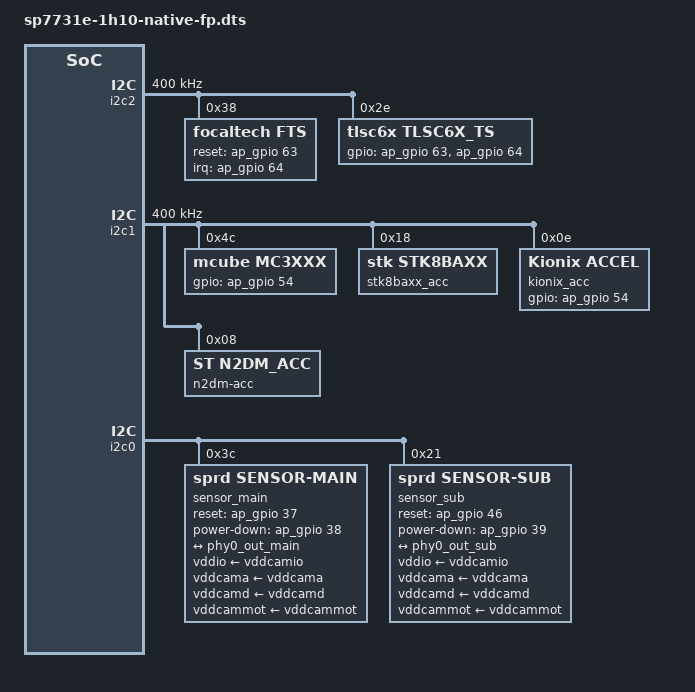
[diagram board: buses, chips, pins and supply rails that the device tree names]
/*****************************************
Do not modify dts file, please modify according dtsi file
******************************************/
#include "../sp7731e-1h10-native-fp.dts"
#include "sprd_base_diff.dtsi"

/ {
	zte_misc: zte_misc {
		status = "okay";
		compatible = "zte-misc";
	};

	charger_policy_service {
		compatible = "zte,charger-policy-service";
		status="okay";
		policy,enable = <1>;
		policy,expired-mode-enable = <1>;
		policy,retry-times = <10>;
		policy,timeout-seconds = <64800>;/* 18 hours */
		policy,max-capacity = <70>;
		policy,min-capacity = <50>;
		policy,bms-phy-name = "battery";
		policy,battery-phy-name = "battery";
	};
};

&i2c2 {
	clock-frequency = <400000>;
	status = "okay";

	/delete-node/ adaptive-touchscreen@38;

	focaltech@38 {
		compatible = "focaltech,fts";
		reg = <0x38>;
		focaltech,reset-gpio = <&ap_gpio 63 0>;
		focaltech,irq-gpio = <&ap_gpio 64 0x2008>;
		focaltech,display-coords = <0 0 480 800>;
		focaltech,max-touch-number = <2>;
	};
	tlsc6x_ts@2e {
		compatible = "tlsc6x,tlsc6x_ts";
		reg = <0x2e>;
		gpios = <&ap_gpio 63 0
			&ap_gpio 64 0>;
		vdd_name = "vdd28";
		TP_MAX_X = <480>;
		TP_MAX_Y = <960>;
	};
};

&i2c1{
	clock-frequency = <400000>;
	status = "okay";

	mc3xxx@4c{
		compatible = "mcube,mc3xxx";
		reg = <0x4c>;
		gpios = <&ap_gpio 54 0>;
		poll_interval = <10>;
		min_interval = <1>;
		g_range = <0>;
		axis_maps_x = <0>;
		axis_maps_y = <1>;
		axis_maps_z = <2>;
		negate_x = <1>;
		negate_y = <1>;
		negate_z = <0>;
	};
	stk8baxx_acc@18{
		compatible = "stk,stk8baxx";
		reg = <0x18>;
		stk,direction = <1>;
	};

	kionix_acc@0E{
		compatible = "Kionix,accel";
		reg = <0x0E>;
		poll_interval = <10>;
		min_interval = <10>;
		g_range = <0>;
		accel_res = <0>;
		accel_irq_use_drdy = <0>;
		accel_direction = <3>;
		gpios = <&ap_gpio 54 0>;
	};

	n2dm-acc@8{
		compatible = "ST,n2dm_acc";
		reg = <0x08>;
		poll_interval = <10>;
		min_interval = <10>;
		g_range = <0>;
		axis_map_x = <0>;
		axis_map_y = <1>;
		axis_map_z = <2>;
		negate_x = <1>;
		negate_y = <0>;
		negate_z = <0>;
	};
};

/*****************************************
cam setting
******************************************/
&i2c0 {
	/delete-node/ sensor-main@3c;
	/delete-node/ sensor-sub@21;
};

&i2c0 {
	sensor_main: sensor-main@3c {
		compatible = "sprd,sensor-main";
		reg = <0x3c>;
		clock-names = "clk_src", "sensor_eb",
			"clk_96m", "clk_76m8",
			"clk_48m", "clk_26m";
		clocks  = <&clk_sensor0>,
			<&clk_mm_ckg_gates 1>,
			<&clk_twpll_96m>,
			<&clk_twpll_76m8>,
			<&clk_twpll_48m>,
			<&ext_26m>;
		vddio-supply = <&vddcamio>;
		vddcama-supply = <&vddcama>;
		vddcamd-supply = <&vddcamd>;
		vddcammot-supply = <&vddcammot>;
		reset-gpios = <&ap_gpio 37 0>;
		power-down-gpios = <&ap_gpio 38 0>;
		host = "dcam0";
		port {
			sensor_main_0: endpoint {
				remote-endpoint = <&phy0_out_main>;
			};
		};
	};

	sensor_sub: sensor-sub@21 {
		compatible = "sprd,sensor-sub";
		reg = <0x21>;
		clock-names = "clk_src","sensor_eb",
			"clk_96m", "clk_76m8",
			"clk_48m", "clk_26m";
		clocks = <&clk_sensor0>,
			<&clk_mm_ckg_gates 1>,
			<&clk_twpll_96m>,
			<&clk_twpll_76m8>,
			<&clk_twpll_48m>,
			<&ext_26m>;
		vddio-supply = <&vddcamio>;
		vddcama-supply = <&vddcama>;
		vddcamd-supply = <&vddcamd>;
		vddcammot-supply = <&vddcammot>;
		reset-gpios = <&ap_gpio 46 0>;
		power-down-gpios = <&ap_gpio 39 0>;
		host = "dcam0";
		port {
			sensor_sub_0: endpoint {
				remote-endpoint = <&phy0_out_sub>;
			};
		};
	};
};

&pmic_flash{
	compatible = "sprd,sc2720-flash";
	reg=<0x1f4>;
};

